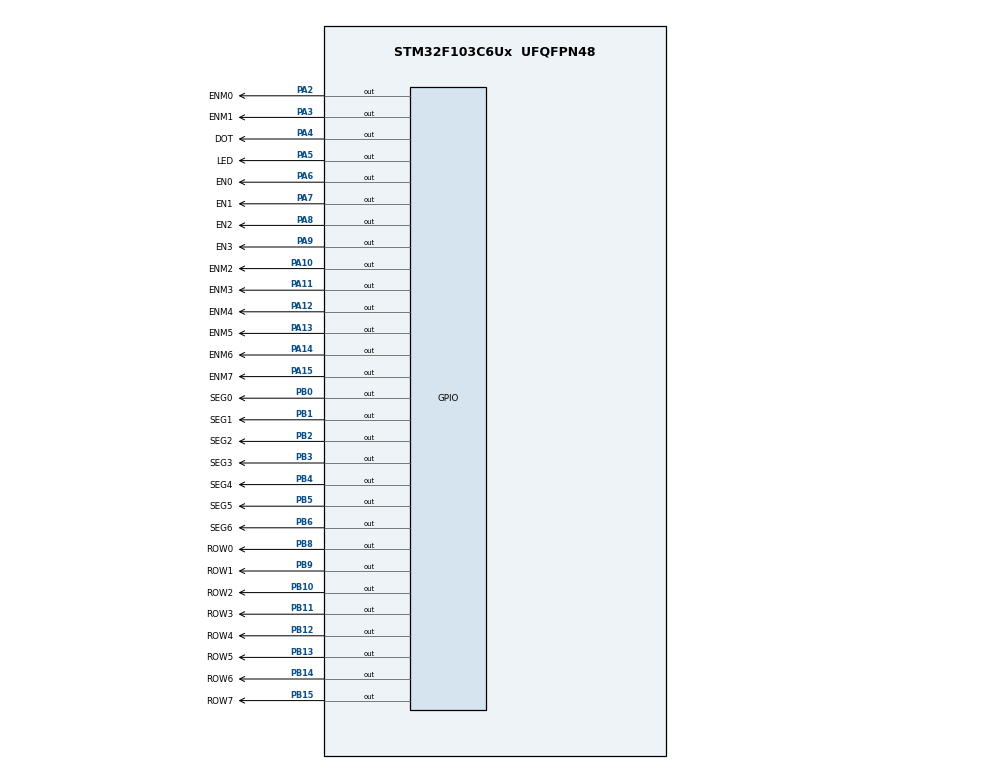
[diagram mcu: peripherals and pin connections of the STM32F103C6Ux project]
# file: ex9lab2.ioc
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Mcu.Family=STM32F1
Mcu.Name=STM32F103C6Ux
Mcu.Package=UFQFPN48
NVIC.PriorityGroup=NVIC_PRIORITYGROUP_4
NVIC.TIM2_IRQn=true\:0\:0\:false\:false\:true\:true\:true
PA10.GPIO_Label=ENM2
PA10.Signal=GPIO_Output
PA11.GPIO_Label=ENM3
PA11.Signal=GPIO_Output
PA12.GPIO_Label=ENM4
PA12.Signal=GPIO_Output
PA13.GPIO_Label=ENM5
PA13.Signal=GPIO_Output
PA14.GPIO_Label=ENM6
PA14.Signal=GPIO_Output
PA15.GPIO_Label=ENM7
PA15.Signal=GPIO_Output
PA2.GPIO_Label=ENM0
PA2.Signal=GPIO_Output
PA3.GPIO_Label=ENM1
PA3.Signal=GPIO_Output
PA4.GPIO_Label=DOT
PA4.Signal=GPIO_Output
PA5.GPIO_Label=LED
PA5.Signal=GPIO_Output
PA6.GPIO_Label=EN0
PA6.Signal=GPIO_Output
PA7.GPIO_Label=EN1
PA7.Signal=GPIO_Output
PA8.GPIO_Label=EN2
PA8.Signal=GPIO_Output
PA9.GPIO_Label=EN3
PA9.Signal=GPIO_Output
PB0.GPIO_Label=SEG0
PB0.Signal=GPIO_Output
PB1.GPIO_Label=SEG1
PB1.Signal=GPIO_Output
PB10.GPIO_Label=ROW2
PB10.Signal=GPIO_Output
PB11.GPIO_Label=ROW3
PB11.Signal=GPIO_Output
PB12.GPIO_Label=ROW4
PB12.Signal=GPIO_Output
PB13.GPIO_Label=ROW5
PB13.Signal=GPIO_Output
PB14.GPIO_Label=ROW6
PB14.Signal=GPIO_Output
PB15.GPIO_Label=ROW7
PB15.Signal=GPIO_Output
PB2.GPIO_Label=SEG2
PB2.Signal=GPIO_Output
PB3.GPIO_Label=SEG3
PB3.Signal=GPIO_Output
PB4.GPIO_Label=SEG4
PB4.Signal=GPIO_Output
PB5.GPIO_Label=SEG5
PB5.Signal=GPIO_Output
PB6.GPIO_Label=SEG6
PB6.Signal=GPIO_Output
PB8.GPIO_Label=ROW0
PB8.Signal=GPIO_Output
PB9.GPIO_Label=ROW1
PB9.Signal=GPIO_Output
ProjectManager.HeapSize=0x200
ProjectManager.StackSize=0x400
ProjectManager.TargetToolchain=STM32CubeIDE
RCC.APB1Freq_Value=8000000
RCC.APB2Freq_Value=8000000
TIM2.Period=9
TIM2.Prescaler=7999
VP_SYS_VS_ND.Mode=No_Debug
VP_TIM2_VS_ClockSourceINT.Mode=Internal
board=custom

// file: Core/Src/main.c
/* USER CODE BEGIN Header */
/**
  ******************************************************************************
  * @file           : main.c
  * @brief          : Lab 2 - Exercise 10: Shift Left LED Matrix (Fixed Compiler Errors)
  ******************************************************************************
  */
/* USER CODE END Header */

#include "main.h"

TIM_HandleTypeDef htim2;

/* USER CODE BEGIN PV */
// --- Cấu hình Software Timers (1 tick = 10ms) ---
int timer1_counter = 0;
int timer1_flag = 0;

int timer2_counter = 0;
int timer2_flag = 0;

int timer3_counter = 0;
int timer3_flag = 0;

// ĐÃ THÊM: Khai báo biến cho Timer 4
int timer4_counter = 0;
int timer4_flag = 0;

// --- Biến lưu trữ thời gian đồng hồ ---
int hour = 15;
int minute = 8;
int second = 50;

// --- Biến hiển thị LED 7-đoạn ---
int index_led = 0;
int led_buffer[4] = {1, 5, 0, 8}; // Khởi tạo (15:08)

// --- Biến hiển thị LED Matrix 8x8 (Chạy từ COL7 -> COL0) ---
const int MAX_LED_MATRIX = 8;
int index_led_matrix = 7; // Khởi tạo bắt đầu từ cột 7

// Mã nhị phân hiển thị chữ 'A' trên LED Matrix (Xuất ra PB8 - PB15)
uint8_t matrix_buffer[8] = {
    0b00000000, // Cột 0 (ENM0 - PA2)
    0b01111100, // Cột 1 (ENM1 - PA3): Nét đứng trái
    0b00010010, // Cột 2 (ENM2 - PA10): Nét ngang + đỉnh
    0b00010001, // Cột 3 (ENM3 - PA11): Nét ngang + đỉnh
    0b00010010, // Cột 4 (ENM4 - PA12): Nét ngang + đỉnh
    0b01111100, // Cột 5 (ENM5 - PA13): Nét đứng phải
    0b00000000, // Cột 6 (ENM6 - PA14)
    0b00000000  // Cột 7 (ENM7 - PA15)
};
/* USER CODE END PV */

void SystemClock_Config(void);
static void MX_GPIO_Init(void);
static void MX_TIM2_Init(void);

void setTimer1(int duration);
void setTimer2(int duration);
void setTimer3(int duration);
void setTimer4(int duration); // ĐÃ THÊM: Prototype cho setTimer4
void timerRun(void);

void display7SEG(int num);
void update7SEG(int index);
void updateClockBuffer(void);

void displayMatrixRow(uint8_t row_data);
void disableAllColumns(void);
void updateLEDMatrix(int index);
void shiftLeftLEDMatrix(void);

/* USER CODE BEGIN 0 */
// --- QUẢN LÝ SOFTWARE TIMERS ---
void setTimer1(int duration) {
    timer1_counter = duration;
    timer1_flag = 0;
}

void setTimer2(int duration) {
    timer2_counter = duration;
    timer2_flag = 0;
}

void setTimer3(int duration) {
    timer3_counter = duration;
    timer3_flag = 0;
}

// ĐÃ THÊM: Hàm setTimer4
void setTimer4(int duration) {
    timer4_counter = duration;
    timer4_flag = 0;
}

void timerRun(void) {
    if (timer1_counter > 0) {
        timer1_counter--;
        if (timer1_counter <= 0) timer1_flag = 1;
    }

    if (timer2_counter > 0) {
        timer2_counter--;
        if (timer2_counter <= 0) timer2_flag = 1;
    }

    if (timer3_counter > 0) {
        timer3_counter--;
        if (timer3_counter <= 0) timer3_flag = 1;
    }

    // ĐÃ THÊM: Xử lý bộ đếm Timer 4
    if (timer4_counter > 0) {
        timer4_counter--;
        if (timer4_counter <= 0) timer4_flag = 1;
    }
}

// --- CẬP NHẬT TIẾN TRÌNH ĐỒNG HỒ ---
void updateClockBuffer(void) {
    second++;
    if (second >= 60) {
        second = 0;
        minute++;
        if (minute >= 60) {
            minute = 0;
            hour++;
            if (hour >= 24) {
                hour = 0;
            }
        }
    }

    led_buffer[0] = hour / 10;
    led_buffer[1] = hour % 10;
    led_buffer[2] = minute / 10;
    led_buffer[3] = minute % 10;
}

// --- XUẤT MÃ 7 ĐOẠN (PB0 - PB6) ANODE CHUNG ---
void display7SEG(int num) {
    uint8_t segmentNumber[10] = {
        0b00111111, // 0
        0b00000110, // 1
        0b01011011, // 2
        0b01001111, // 3
        0b01100110, // 4
        0b01101101, // 5
        0b01111101, // 6
        0b00000111, // 7
        0b01111111, // 8
        0b01101111  // 9
    };

    if (num >= 0 && num <= 9) {
        uint8_t data = ~segmentNumber[num];
        for (int i = 0; i < 7; i++) {
            HAL_GPIO_WritePin(GPIOB, GPIO_PIN_0 << i, (data >> i) & 0b00000001);
        }
    }
}

// --- QUÉT LED 7-ĐOẠN (PA6 - PA9) ---
void update7SEG(int index) {
    HAL_GPIO_WritePin(GPIOA, GPIO_PIN_6 | GPIO_PIN_7 | GPIO_PIN_8 | GPIO_PIN_9, GPIO_PIN_SET);

    switch (index) {
        case 0:
            display7SEG(led_buffer[0]);
            HAL_GPIO_WritePin(GPIOA, GPIO_PIN_6, GPIO_PIN_RESET);
            break;
        case 1:
            display7SEG(led_buffer[1]);
            HAL_GPIO_WritePin(GPIOA, GPIO_PIN_7, GPIO_PIN_RESET);
            break;
        case 2:
            display7SEG(led_buffer[2]);
            HAL_GPIO_WritePin(GPIOA, GPIO_PIN_8, GPIO_PIN_RESET);
            break;
        case 3:
            display7SEG(led_buffer[3]);
            HAL_GPIO_WritePin(GPIOA, GPIO_PIN_9, GPIO_PIN_RESET);
            break;
        default:
            break;
    }
}

// --- XUẤT DỮ LIỆU HÀNG LED MATRIX RA PB8 - PB15 (ROW0 - ROW7) ---
void displayMatrixRow(uint8_t row_data) {
    for (int i = 0; i < 8; i++) {
        HAL_GPIO_WritePin(GPIOB, GPIO_PIN_8 << i, (row_data >> i) & 0b00000001);
    }
}

// --- TẮT TẤT CẢ CÁC CỘT CỦA LED MATRIX ---
void disableAllColumns(void) {
    HAL_GPIO_WritePin(GPIOA, GPIO_PIN_2 | GPIO_PIN_3 | GPIO_PIN_10 | GPIO_PIN_11 |
                             GPIO_PIN_12 | GPIO_PIN_13 | GPIO_PIN_14 | GPIO_PIN_15, GPIO_PIN_RESET);
}

// --- QUÉT CỘT LED MATRIX ---
void updateLEDMatrix(int index) {
    disableAllColumns();                    // 1. Tắt hết cột cũ
    displayMatrixRow(matrix_buffer[index]); // 2. Xuất dữ liệu hàng mới

    // 3. Bật đúng cột hiện tại
    switch (index) {
        case 0: HAL_GPIO_WritePin(GPIOA, GPIO_PIN_2,  GPIO_PIN_SET); break;
        case 1: HAL_GPIO_WritePin(GPIOA, GPIO_PIN_3,  GPIO_PIN_SET); break;
        case 2: HAL_GPIO_WritePin(GPIOA, GPIO_PIN_10, GPIO_PIN_SET); break;
        case 3: HAL_GPIO_WritePin(GPIOA, GPIO_PIN_11, GPIO_PIN_SET); break;
        case 4: HAL_GPIO_WritePin(GPIOA, GPIO_PIN_12, GPIO_PIN_SET); break;
        case 5: HAL_GPIO_WritePin(GPIOA, GPIO_PIN_13, GPIO_PIN_SET); break;
        case 6: HAL_GPIO_WritePin(GPIOA, GPIO_PIN_14, GPIO_PIN_SET); break;
        case 7: HAL_GPIO_WritePin(GPIOA, GPIO_PIN_15, GPIO_PIN_SET); break;
        default: break;
    }
}

// --- HÀM CUỘN CHỮ 'A' SANG TRÁI ---
void shiftLeftLEDMatrix(void) {
    uint8_t temp = matrix_buffer[0];
    for (int i = 0; i < MAX_LED_MATRIX - 1; i++) {
        matrix_buffer[i] = matrix_buffer[i + 1];
    }
    matrix_buffer[MAX_LED_MATRIX - 1] = temp;
}

// --- NGẮT HARDWARE TIMER 2 ---
void HAL_TIM_PeriodElapsedCallback(TIM_HandleTypeDef *htim) {
    if (htim->Instance == TIM2) {
        timerRun();
    }
}
/* USER CODE END 0 */

int main(void)
{
  HAL_Init();
  SystemClock_Config();

  MX_GPIO_Init();
  MX_TIM2_Init();

  HAL_TIM_Base_Start_IT(&htim2);

  /* Khởi tạo Software Timers */
  setTimer1(25);  // Timer 1: 250ms (Quét 1 LED 7-đoạn)
  setTimer2(100); // Timer 2: 1000ms (1s - Cập nhật đồng hồ)
  setTimer3(1);   // Timer 3: 10ms (Quét 1 cột LED Matrix)
  setTimer4(30);  // ĐÃ THÊM: Timer 4: 300ms (Hiệu ứng cuộn chữ A)

  while (1)
  {
      // Task 1: Quét 4 LED 7-đoạn
      if (timer1_flag == 1) {
          setTimer1(25);
          update7SEG(index_led);
          index_led = (index_led + 1) % 4;
      }

      // Task 2: Cập nhật thời gian & Nháy LED DOT
      if (timer2_flag == 1) {
          setTimer2(100);
          updateClockBuffer();
          HAL_GPIO_TogglePin(GPIOA, GPIO_PIN_4);
      }

      // Task 3: Quét Ma trận LED chạy lùi từ COL7 về COL0
      if (timer3_flag == 1) {
          setTimer3(1); // 10ms
          updateLEDMatrix(index_led_matrix);

          index_led_matrix--;
          if (index_led_matrix < 0) {
              index_led_matrix = MAX_LED_MATRIX - 1; // Reset về 7 khi về dưới 0
          }
      }

      // Task 4: Cuộn chữ 'A' sang trái 1 cột mỗi 300ms
      if (timer4_flag == 1) {
          setTimer4(30);
          shiftLeftLEDMatrix();
      }
  }
}

void SystemClock_Config(void)
{
  RCC_OscInitTypeDef RCC_OscInitStruct = {0};
  RCC_ClkInitTypeDef RCC_ClkInitStruct = {0};

  RCC_OscInitStruct.OscillatorType = RCC_OSCILLATORTYPE_HSI;
  RCC_OscInitStruct.HSIState = RCC_HSI_ON;
  RCC_OscInitStruct.HSICalibrationValue = RCC_HSICALIBRATION_DEFAULT;
  RCC_OscInitStruct.PLL.PLLState = RCC_PLL_NONE;
  if (HAL_RCC_OscConfig(&RCC_OscInitStruct) != HAL_OK)
  {
    Error_Handler();
  }

  RCC_ClkInitStruct.ClockType = RCC_CLOCKTYPE_HCLK|RCC_CLOCKTYPE_SYSCLK
                              |RCC_CLOCKTYPE_PCLK1|RCC_CLOCKTYPE_PCLK2;
  RCC_ClkInitStruct.SYSCLKSource = RCC_SYSCLKSOURCE_HSI;
  RCC_ClkInitStruct.AHBCLKDivider = RCC_SYSCLK_DIV1;
  RCC_ClkInitStruct.APB1CLKDivider = RCC_HCLK_DIV1;
  RCC_ClkInitStruct.APB2CLKDivider = RCC_HCLK_DIV1;

  if (HAL_RCC_ClockConfig(&RCC_ClkInitStruct, FLASH_LATENCY_0) != HAL_OK)
  {
    Error_Handler();
  }
}

static void MX_TIM2_Init(void)
{
  TIM_ClockConfigTypeDef sClockSourceConfig = {0};
  TIM_MasterConfigTypeDef sMasterConfig = {0};

  htim2.Instance = TIM2;
  htim2.Init.Prescaler = 7999;
  htim2.Init.CounterMode = TIM_COUNTERMODE_UP;
  htim2.Init.Period = 9;
  htim2.Init.ClockDivision = TIM_CLOCKDIVISION_DIV1;
  htim2.Init.AutoReloadPreload = TIM_AUTORELOAD_PRELOAD_DISABLE;
  if (HAL_TIM_Base_Init(&htim2) != HAL_OK)
  {
    Error_Handler();
  }
  sClockSourceConfig.ClockSource = TIM_CLOCKSOURCE_INTERNAL;
  if (HAL_TIM_ConfigClockSource(&htim2, &sClockSourceConfig) != HAL_OK)
  {
    Error_Handler();
  }
  sMasterConfig.MasterOutputTrigger = TIM_TRGO_RESET;
  sMasterConfig.MasterSlaveMode = TIM_MASTERSLAVEMODE_DISABLE;
  if (HAL_TIMEx_MasterConfigSynchronization(&htim2, &sMasterConfig) != HAL_OK)
  {
    Error_Handler();
  }
}

static void MX_GPIO_Init(void)
{
  GPIO_InitTypeDef GPIO_InitStruct = {0};

  __HAL_RCC_GPIOA_CLK_ENABLE();
  __HAL_RCC_GPIOB_CLK_ENABLE();
  __HAL_RCC_AFIO_CLK_ENABLE();

  __HAL_AFIO_REMAP_SWJ_DISABLE();

  HAL_GPIO_WritePin(GPIOA, GPIO_PIN_2 | GPIO_PIN_3 | GPIO_PIN_4 | GPIO_PIN_5 |
                           GPIO_PIN_10 | GPIO_PIN_11 | GPIO_PIN_12 | GPIO_PIN_13 |
                           GPIO_PIN_14 | GPIO_PIN_15, GPIO_PIN_RESET);
  HAL_GPIO_WritePin(GPIOA, GPIO_PIN_6 | GPIO_PIN_7 | GPIO_PIN_8 | GPIO_PIN_9, GPIO_PIN_SET);

  HAL_GPIO_WritePin(GPIOB, GPIO_PIN_0 | GPIO_PIN_1 | GPIO_PIN_2 | GPIO_PIN_3 |
                           GPIO_PIN_4 | GPIO_PIN_5 | GPIO_PIN_6 | GPIO_PIN_8 |
                           GPIO_PIN_9 | GPIO_PIN_10 | GPIO_PIN_11 | GPIO_PIN_12 |
                           GPIO_PIN_13 | GPIO_PIN_14 | GPIO_PIN_15, GPIO_PIN_RESET);

  GPIO_InitStruct.Pin = GPIO_PIN_2 | GPIO_PIN_3 | GPIO_PIN_4 | GPIO_PIN_5 |
                        GPIO_PIN_6 | GPIO_PIN_7 | GPIO_PIN_8 | GPIO_PIN_9 |
                        GPIO_PIN_10 | GPIO_PIN_11 | GPIO_PIN_12 | GPIO_PIN_13 |
                        GPIO_PIN_14 | GPIO_PIN_15;
  GPIO_InitStruct.Mode = GPIO_MODE_OUTPUT_PP;
  GPIO_InitStruct.Pull = GPIO_NOPULL;
  GPIO_InitStruct.Speed = GPIO_SPEED_FREQ_LOW;
  HAL_GPIO_Init(GPIOA, &GPIO_InitStruct);

  GPIO_InitStruct.Pin = GPIO_PIN_0 | GPIO_PIN_1 | GPIO_PIN_2 | GPIO_PIN_3 |
                        GPIO_PIN_4 | GPIO_PIN_5 | GPIO_PIN_6 | GPIO_PIN_8 |
                        GPIO_PIN_9 | GPIO_PIN_10 | GPIO_PIN_11 | GPIO_PIN_12 |
                        GPIO_PIN_13 | GPIO_PIN_14 | GPIO_PIN_15;
  GPIO_InitStruct.Mode = GPIO_MODE_OUTPUT_PP;
  GPIO_InitStruct.Pull = GPIO_NOPULL;
  GPIO_InitStruct.Speed = GPIO_SPEED_FREQ_LOW;
  HAL_GPIO_Init(GPIOB, &GPIO_InitStruct);
}

void Error_Handler(void)
{
  __disable_irq();
  while (1)
  {
  }
}
